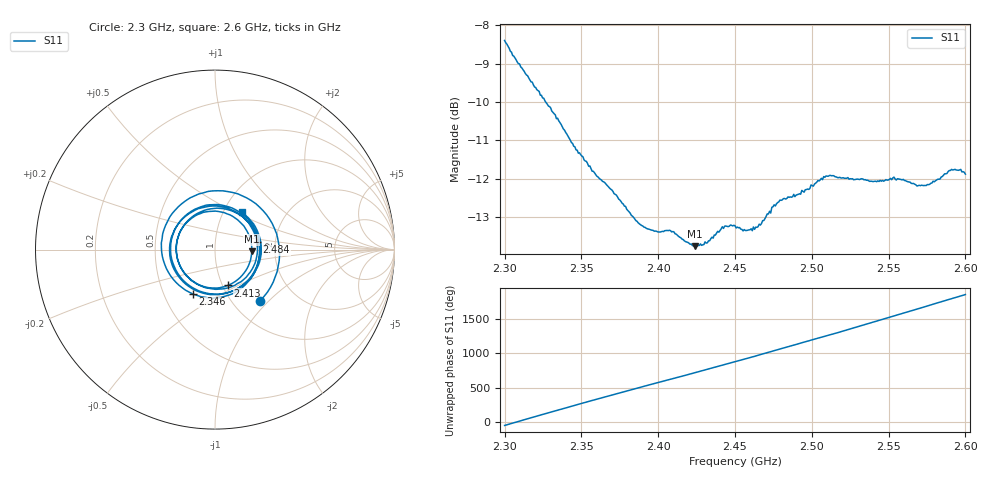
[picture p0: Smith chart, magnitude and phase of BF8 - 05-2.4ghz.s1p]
! NanoVNA-App
! Date: 2026-05-22 16:39:23
! Start: 2.3GHz Stop: 2.6GHz Points: 401
! S-Parameter data: F S11
# Hz S RI R 50
!  Frequency  S11_Real  S11_Imag
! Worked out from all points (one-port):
!   401 points, 2.3 GHz to 2.6 GHz, reference 50 ohm
!   lowest |S11| = -13.8 dB at 2.424 GHz (marker M1), VSWR 1.52, Z = 75.8 - j1.48 ohm
!   |S11| at or under -10 dB: 2.327 GHz to end of sweep
!   S11 on the Smith chart (normalised r, x): 2.3 GHz: 1.33, -0.89; 2.346 GHz: 0.70, -0.38; 2.413 GHz: 1.06, -0.44; 2.484 GHz: 1.60, +0.14; 2.6 GHz: 1.22, +0.54
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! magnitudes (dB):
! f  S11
! 2.3 GHz  -8.4
! 2.337 GHz  -10.6
! 2.346 GHz  -11.2
! 2.358 GHz  -11.8
! 2.375 GHz  -12.6
! 2.384 GHz  -13.0
! 2.391 GHz  -13.3
! 2.399 GHz  -13.4
! 2.409 GHz  -13.4
! 2.413 GHz  -13.5
! 2.424 GHz  -13.8
! 2.433 GHz  -13.6
! 2.442 GHz  -13.3
! 2.45 GHz  -13.2
! 2.457 GHz  -13.3
! 2.463 GHz  -13.3
! 2.468 GHz  -13.1
! 2.475 GHz  -12.7
! 2.484 GHz  -12.5
! 2.487 GHz  -12.5
! 2.509 GHz  -11.9
! 2.525 GHz  -12.0
! 2.541 GHz  -12.1
! 2.553 GHz  -12.0
! 2.562 GHz  -12.1
! 2.575 GHz  -12.2
! 2.591 GHz  -11.8
! 2.6 GHz  -11.9
